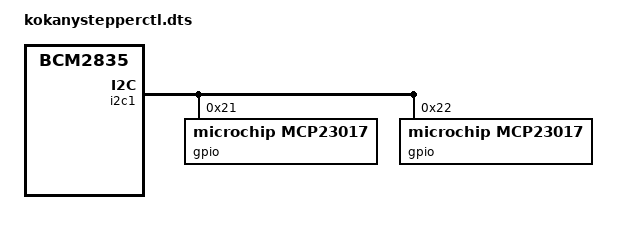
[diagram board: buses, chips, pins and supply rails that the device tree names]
/dts-v1/;
/plugin/;

// https://elixir.bootlin.com/linux/latest/source/Documentation/devicetree/bindings/pinctrl/pinctrl-mcp23s08.txt 
// https://elinux.org/Device_Tree_Usage

/ {
    compatible = "brcm,bcm2835";

    fragment@0 {
        target = <&i2c1>; // /dev/i2c-1
        __overlay__ {
            status = "okay";

            gpio@21 { // 0x21
                compatible = "microchip,mcp23017";
                gpio-controller;
                #gpio-cells = <2>;
                reg = <0x21>;
            };

            gpio@22 { // 0x22
                compatible = "microchip,mcp23017";
                gpio-controller;
                #gpio-cells = <2>;
                reg = <0x22>;
            };
        };
    };
};
